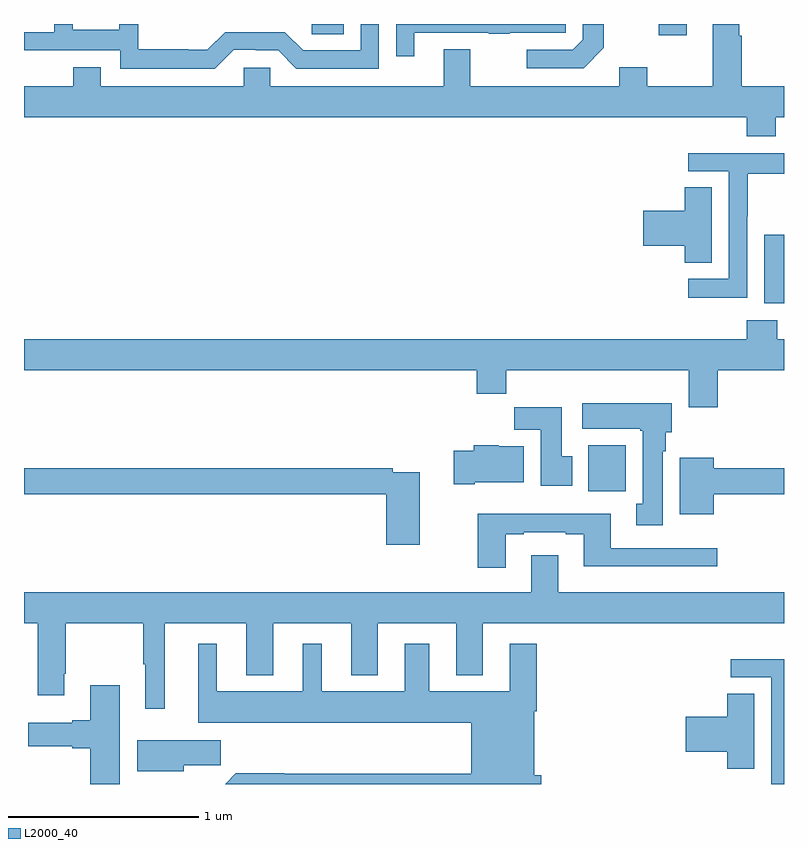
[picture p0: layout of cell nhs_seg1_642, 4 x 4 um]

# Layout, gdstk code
import gdstk
lib = gdstk.Library(unit=1e-6, precision=1e-09)
def R(c, l, rs):  # rectangles x0, y0, x1, y1
    for r in rs: c.add(gdstk.rectangle(r[:2], r[2:], *l))
def P(c, l, *ps):  # polygons
    for p in ps: c.add(gdstk.Polygon(p, *l))
L2000_40 = (2000, 40)

nhs_seg1_642 = lib.new_cell('nhs_seg1_642')
R(nhs_seg1_642, L2000_40, [(147.971,573.74,148.168,573.982), (148.895,574.73,149,575.091), (148.341,576.141,148.489,576.199), (146.514,576.145,146.682,576.199), (148.901,576.198,149,576.199)])
P(nhs_seg1_642, L2000_40, [(148.051,576.073),(148.051,576.199),(147.942,576.199),(147.942,576.117),(147.888,576.063),(147.645,576.063),(147.645,575.967),(147.945,575.967)],
  [(147.055,576.153),(147.445,576.153),(147.445,576.148),(147.557,576.148),(147.557,576.153),(147.852,576.153),(147.852,576.199),(146.959,576.199),(146.959,576.03),(147.055,576.03)],
  [(146.103,576.063),(146.219,576.063),(146.219,576.06),(146.337,576.06),(146.433,575.964),(146.868,575.964),(146.868,576.199),(146.772,576.199),(146.772,576.06),(146.469,576.06),(146.373,576.156),(146.058,576.156),(145.965,576.063),(145.865,576.063),(145.865,576.067),(145.602,576.067),(145.602,576.199),(145.501,576.199),(145.501,576.169),(145.257,576.169),(145.257,576.199),(145.158,576.199),(145.158,576.156),(145,576.156),(145,576.06),(145.506,576.06),(145.506,575.963),(146.003,575.963)],
  [(148.957,575.708),(149,575.708),(149,575.872),(148.778,575.872),(148.778,576.137),(148.765,576.137),(148.765,576.199),(148.625,576.199),(148.625,575.872),(148.281,575.872),(148.281,575.971),(148.133,575.971),(148.133,575.872),(147.349,575.872),(147.349,576.067),(147.209,576.067),(147.209,575.872),(146.295,575.872),(146.295,575.97),(146.157,575.97),(146.157,575.872),(145.405,575.872),(145.405,575.971),(145.258,575.971),(145.258,575.872),(145,575.872),(145,575.708),(148.805,575.708),(148.805,575.609),(148.957,575.609)],
  [(145.864,576.199),(145.719,576.199),(145.719,576.197),(145.862,576.197)],
  [(148.806,575.188),(148.809,575.188),(148.809,575.412),(149,575.412),(149,575.52),(148.497,575.52),(148.497,575.424),(148.71,575.424),(148.71,574.857),(148.497,574.857),(148.497,574.759),(148.806,574.759)],
  [(148.621,575.339),(148.478,575.339),(148.478,575.216),(148.26,575.216),(148.26,575.033),(148.478,575.033),(148.478,574.942),(148.621,574.942)],
  [(149,574.54),(148.965,574.54),(148.965,574.639),(148.805,574.639),(148.805,574.54),(145,574.54),(145,574.376),(147.383,574.376),(147.383,574.252),(147.539,574.252),(147.539,574.376),(148.499,574.376),(148.499,574.182),(148.652,574.182),(148.652,574.376),(149,574.376)],
  [(148.363,573.95),(148.378,573.95),(148.378,574.05),(148.408,574.05),(148.408,574.204),(147.939,574.204),(147.939,574.07),(148.243,574.07),(148.243,574.057),(148.256,574.057),(148.256,573.674),(148.223,573.674),(148.223,573.561),(148.363,573.561)],
  [(147.886,573.924),(147.829,573.924),(147.829,574.183),(147.58,574.183),(147.58,574.064),(147.719,574.064),(147.719,573.768),(147.886,573.768)],
  [(147.373,573.788),(147.631,573.788),(147.631,573.976),(147.498,573.976),(147.498,573.982),(147.368,573.982),(147.368,573.954),(147.261,573.954),(147.261,573.776),(147.373,573.776)],
  [(148.63,573.724),(149,573.724),(149,573.86),(148.63,573.86),(148.63,573.916),(148.451,573.916),(148.451,573.62),(148.63,573.62)],
  [(147.084,573.84),(146.942,573.84),(146.942,573.86),(145,573.86),(145,573.724),(146.906,573.724),(146.906,573.459),(147.084,573.459)],
  [(147.535,573.513),(147.631,573.513),(147.631,573.525),(147.851,573.525),(147.851,573.513),(147.947,573.513),(147.947,573.344),(148.648,573.344),(148.648,573.441),(148.087,573.441),(148.087,573.622),(147.388,573.622),(147.388,573.336),(147.535,573.336)],
  [(145.741,573.044),(146.171,573.044),(146.171,572.771),(146.311,572.771),(146.311,573.044),(146.723,573.044),(146.723,572.771),(146.863,572.771),(146.863,573.044),(147.275,573.044),(147.275,572.771),(147.415,572.771),(147.415,573.044),(149,573.044),(149,573.208),(147.811,573.208),(147.811,573.403),(147.671,573.403),(147.671,573.208),(145,573.208),(145,573.044),(145.073,573.044),(145.073,572.667),(145.213,572.667),(145.213,572.779),(145.221,572.779),(145.221,573.044),(145.627,573.044),(145.627,572.828),(145.637,572.828),(145.637,572.595),(145.741,572.595)],
  [(147.722,572.244),(147.685,572.244),(147.685,572.582),(147.698,572.582),(147.698,572.938),(147.557,572.938),(147.557,572.686),(147.133,572.686),(147.133,572.938),(147.005,572.938),(147.005,572.686),(146.566,572.686),(146.566,572.938),(146.468,572.938),(146.468,572.686),(146.014,572.686),(146.014,572.938),(145.916,572.938),(145.916,572.522),(147.353,572.522),(147.353,572.252),(146.369,572.252),(146.369,572.255),(146.114,572.255),(146.058,572.199),(147.722,572.199)],
  [(149,572.856),(148.719,572.856),(148.719,572.76),(148.932,572.76),(148.932,572.199),(149,572.199)],
  [(145.504,572.719),(145.349,572.719),(145.349,572.534),(145.253,572.534),(145.253,572.521),(145.023,572.521),(145.023,572.399),(145.253,572.399),(145.253,572.387),(145.349,572.387),(145.349,572.199),(145.504,572.199)],
  [(148.843,572.675),(148.7,572.675),(148.7,572.552),(148.482,572.552),(148.482,572.369),(148.7,572.369),(148.7,572.278),(148.843,572.278)],
  [(145.84,572.299),(146.035,572.299),(146.035,572.428),(145.596,572.428),(145.596,572.267),(145.84,572.267)])

lib.write_gds('nhs_seg1_642.gds')
